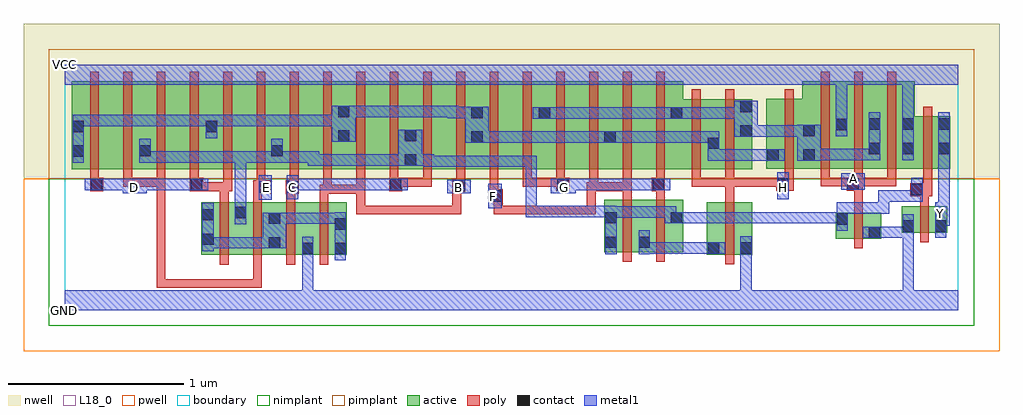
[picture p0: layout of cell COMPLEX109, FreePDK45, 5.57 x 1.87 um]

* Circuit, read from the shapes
.subckt COMPLEX109 A B C D E F G GND H VCC Y
M1 n1 D n2 VSUBS nfet w=0.3u l=0.05u
M2 n2 E n1 VSUBS nfet w=0.3u l=0.05u
M3 GND C n2 VSUBS nfet w=0.3u l=0.05u
M4 n2 B GND VSUBS nfet w=0.3u l=0.05u
M5 n3 F n1 VSUBS nfet w=0.3u l=0.05u
M6 n1 G n3 VSUBS nfet w=0.3u l=0.05u
M7 GND H n3 VSUBS nfet w=0.3u l=0.05u
M8 GND A n1 VSUBS nfet w=0.15u l=0.05u
M9 Y n1 GND VSUBS nfet w=0.15u l=0.05u
M10 n4 D n5 n6 pfet w=0.5u l=0.05u
M11 n1 E n4 n6 pfet w=0.5u l=0.05u
M12 n7 E n1 n6 pfet w=0.5u l=0.05u
M13 n5 D n7 n6 pfet w=0.5u l=0.05u
M14 n8 D n5 n6 pfet w=0.5u l=0.05u
M15 n1 E n8 n6 pfet w=0.5u l=0.05u
M16 n9 C n1 n6 pfet w=0.5u l=0.05u
M17 n5 B n9 n6 pfet w=0.5u l=0.05u
M18 n10 B n5 n6 pfet w=0.5u l=0.05u
M19 n1 C n10 n6 pfet w=0.5u l=0.05u
M20 n11 C n1 n6 pfet w=0.5u l=0.05u
M21 n5 B n11 n6 pfet w=0.5u l=0.05u
M22 n12 F n5 n6 pfet w=0.5u l=0.05u
M23 n13 G n12 n6 pfet w=0.5u l=0.05u
M24 n14 G n13 n6 pfet w=0.5u l=0.05u
M25 n5 F n14 n6 pfet w=0.5u l=0.05u
M26 n15 F n5 n6 pfet w=0.5u l=0.05u
M27 n13 G n15 n6 pfet w=0.5u l=0.05u
M28 n5 H n13 n6 pfet w=0.4u l=0.05u m=3
M29 VCC A n13 n6 pfet w=0.5u l=0.05u m=3
M30 Y n1 VCC n6 pfet w=0.3u l=0.05u
.ends

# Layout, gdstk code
import gdstk
lib = gdstk.Library(unit=1e-6, precision=1e-09)
def R(c, l, rs):  # rectangles x0, y0, x1, y1
    for r in rs: c.add(gdstk.rectangle(r[:2], r[2:], *l))
def A(c, l, x, y, w, h, nx, ny, dx, dy):  # array of equal rectangles
    R(c, l, [(x+i*dx, y+j*dy, x+i*dx+w, y+j*dy+h) for i in range(nx) for j in range(ny)])
active = (1, 0)
pwell = (2, 0)
nwell = (3, 0)
nimplant = (4, 0)
pimplant = (5, 0)
poly = (9, 0)
contact = (10, 0)
metal1 = (11, 0)
L18_0 = (18, 0)
boundary = (235, 0)

complex109 = lib.new_cell('COMPLEX109')
A(complex109, active, 0.04, 0.805, 0.225, 0.5, 3, 1, 0.38, 0)
A(complex109, active, 1.025, 0.805, 0.225, 0.5, 4, 1, 0.38, 0)
A(complex109, active, 1.175, 0.805, 0.23, 0.5, 4, 1, 0.38, 0)
R(complex109, active, [(0.78,0.315,1.04,0.615), (0.965,0.315,1.235,0.615), (1.16,0.315,1.425,0.615), (1.35,0.315,1.61,0.615), (1.35,0.315,1.425,0.497), (1.535,0.315,1.61,0.615), (3.665,0.317,3.74,0.617), (3.665,0.317,3.925,0.617), (3.85,0.317,3.925,0.617), (3.08,0.33,3.345,0.63), (3.27,0.33,3.53,0.63), (3.27,0.33,3.345,0.497), (0.78,0.332,0.855,0.615), (0.965,0.332,1.04,0.595), (1.16,0.332,1.235,0.562), (3.455,0.332,3.53,0.63), (3.08,0.35,3.155,0.63), (4.4,0.407,4.475,0.557), (4.4,0.407,4.66,0.557), (4.585,0.407,4.66,0.557), (4.777,0.442,4.852,0.592), (4.777,0.442,5.037,0.592), (4.962,0.442,5.037,0.592), (0.04,0.805,0.145,1.2), (0.265,0.805,0.495,1.305), (0.42,0.805,0.495,1.07), (0.645,0.805,0.875,1.305), (0.8,0.805,0.875,1.2), (1.175,0.805,1.25,1.07), (1.555,0.805,1.63,1.2), (1.935,0.805,2.01,1.07), (2.315,0.805,2.39,1.2), (2.545,0.805,2.775,1.305), (2.7,0.805,2.775,1.2), (2.7,0.805,2.925,1.305), (2.925,0.805,3.15,1.305), (3.075,0.805,3.15,1.07), (3.075,0.805,3.305,1.305), (3.305,0.805,3.53,1.305), (3.455,0.805,3.74,1.205), (3.665,0.805,3.925,1.205), (3.665,0.805,3.74,1.07), (3.85,0.805,3.925,1.2), (4.005,0.807,4.08,1.07), (4.005,0.807,4.285,1.207), (4.21,0.807,4.285,1.2), (4.21,0.807,4.47,1.307), (4.395,0.807,4.66,1.307), (4.395,0.807,4.47,1.307), (4.585,0.807,4.85,1.307), (4.585,0.807,4.66,1.2), (4.775,0.807,4.85,1.105), (4.775,0.807,5.055,1.107), (4.98,0.807,5.055,1.105), (3.455,0.907,3.53,1.2)])
R(complex109, pwell, [(-0.235,-0.235,5.335,0.75)])
R(complex109, nwell, [(-0.235,0.75,5.335,1.635)])
R(complex109, nimplant, [(-0.09,-0.09,5.19,0.75)])
R(complex109, pimplant, [(-0.09,0.75,5.19,1.49)])
A(complex109, poly, 0.885, 0.26, 0.05, 0.41, 4, 1, 0.19, 0)
A(complex109, poly, 1.075, 0.62, 0.05, 0.095, 3, 1, 0.19, 0)
A(complex109, poly, 0.145, 0.705, 0.05, 0.095, 4, 1, 0.19, 0)
A(complex109, poly, 4.315, 0.707, 0.05, 0.095, 3, 1, 0.19, 0)
A(complex109, poly, 0.145, 0.75, 0.05, 0.61, 18, 1, 0.19, 0)
A(complex109, poly, 4.315, 0.752, 0.05, 0.61, 3, 1, 0.19, 0)
R(complex109, poly, [(0.525,0.127,0.575,0.177), (0.525,0.127,0.575,0.177), (0.525,0.127,0.575,0.177), (0.525,0.127,0.575,0.177), (0.525,0.127,0.575,0.177), (0.525,0.127,0.575,0.177), (0.525,0.127,0.575,0.177), (0.525,0.127,0.575,0.177), (0.525,0.127,0.575,0.177), (0.525,0.127,0.707,0.177), (0.525,0.127,0.575,0.755), (0.657,0.127,0.707,0.177), (0.657,0.127,0.707,0.177), (0.657,0.127,0.707,0.177), (0.657,0.127,0.992,0.177), (0.942,0.127,0.992,0.177), (0.942,0.127,0.992,0.177), (0.942,0.127,0.992,0.177), (0.942,0.127,1.125,0.177), (1.075,0.127,1.125,0.177), (1.075,0.127,1.125,0.31), (3.77,0.262,3.82,0.672), (3.185,0.275,3.235,0.685), (3.375,0.275,3.425,0.685), (4.505,0.352,4.555,0.612), (4.882,0.387,4.932,0.647), (1.665,0.547,1.715,0.597), (1.665,0.547,1.715,0.597), (1.665,0.547,1.715,0.597), (1.665,0.547,1.715,0.597), (1.665,0.547,1.715,0.597), (1.665,0.547,1.847,0.597), (1.665,0.547,1.715,0.715), (1.797,0.547,1.847,0.597), (1.797,0.547,1.847,0.597), (1.797,0.547,1.847,0.597), (1.797,0.547,2.13,0.597), (2.08,0.547,2.13,0.597), (2.08,0.547,2.262,0.597), (2.212,0.547,2.262,0.597), (2.212,0.547,2.262,0.597), (2.212,0.547,2.262,0.597), (2.212,0.547,2.262,0.725), (2.45,0.547,2.5,0.597), (2.45,0.547,2.5,0.597), (2.45,0.547,2.5,0.597), (2.45,0.547,2.5,0.597), (2.45,0.547,2.5,0.597), (2.45,0.547,2.722,0.597), (2.45,0.547,2.5,0.665), (2.672,0.547,2.722,0.597), (2.672,0.547,2.897,0.597), (2.847,0.547,2.897,0.597), (2.847,0.547,2.897,0.597), (2.847,0.547,2.897,0.597), (2.847,0.547,3.03,0.597), (2.98,0.547,3.03,0.597), (2.98,0.547,3.03,0.597), (2.98,0.547,3.03,0.597), (2.98,0.547,3.03,0.73), (4.505,0.562,4.555,0.732), (4.882,0.597,4.932,0.7), (2.425,0.615,2.5,0.69), (0.885,0.62,0.935,0.73), (3.77,0.622,3.82,0.755), (3.185,0.635,3.235,0.73), (3.375,0.635,3.425,0.73), (2.425,0.64,2.475,0.8), (4.827,0.65,4.95,0.725), (1.075,0.665,1.177,0.74), (1.262,0.665,1.337,0.74), (1.455,0.665,1.525,0.715), (1.475,0.665,1.525,0.715), (1.475,0.665,1.525,0.715), (1.475,0.665,1.715,0.715), (1.475,0.665,1.525,0.8), (1.665,0.665,1.715,0.715), (1.665,0.665,1.715,0.8), (2.212,0.675,2.262,0.725), (2.212,0.675,2.262,0.725), (2.212,0.675,2.287,0.75), (4.9,0.675,4.95,0.802), (0.145,0.68,0.22,0.755), (0.715,0.68,0.79,0.755), (0.74,0.68,0.79,0.73), (0.74,0.68,0.79,0.73), (0.74,0.68,0.935,0.73), (0.885,0.68,0.955,0.73), (0.905,0.68,0.955,0.8), (1.852,0.68,1.927,0.755), (2.805,0.68,2.88,0.755), (2.98,0.68,3.03,0.73), (2.98,0.68,3.03,0.73), (2.98,0.68,3.045,0.73), (2.995,0.68,3.235,0.73), (2.995,0.68,3.045,0.8), (3.185,0.68,3.235,0.73), (3.185,0.68,3.235,0.73), (3.185,0.68,3.235,0.73), (3.185,0.68,3.235,0.8), (3.35,0.68,3.425,0.755), (4.062,0.682,4.16,0.757), (4.462,0.682,4.555,0.757), (1.095,0.69,1.145,0.8), (1.285,0.69,1.335,0.8), (2.235,0.7,2.285,0.8), (0.335,0.705,0.385,0.755), (0.335,0.705,0.385,0.755), (0.335,0.705,0.385,0.755), (0.335,0.705,0.575,0.755), (0.525,0.705,0.575,0.755), (1.855,0.705,1.905,0.8), (1.877,0.705,2.095,0.755), (2.045,0.705,2.095,0.8), (2.045,0.705,2.095,0.755), (2.045,0.705,2.095,0.755), (2.045,0.705,2.095,0.755), (2.615,0.705,2.665,0.8), (2.615,0.705,2.665,0.755), (2.615,0.705,2.855,0.755), (2.805,0.705,2.855,0.8), (2.805,0.705,2.855,0.755), (2.805,0.705,2.855,0.755), (3.375,0.705,3.425,0.8), (3.58,0.705,3.63,0.8), (3.58,0.705,3.63,0.755), (3.58,0.705,3.63,0.755), (3.58,0.705,3.63,0.755), (3.58,0.705,3.82,0.755), (3.77,0.705,3.82,0.8), (3.77,0.705,3.82,0.755), (3.77,0.705,3.82,0.755), (3.77,0.705,3.82,0.755), (3.77,0.705,4.112,0.755), (4.062,0.705,4.112,0.755), (4.062,0.705,4.112,0.755), (4.11,0.707,4.16,0.802), (4.315,0.707,4.365,0.757), (4.315,0.707,4.365,0.757), (4.315,0.707,4.365,0.757), (4.315,0.707,4.512,0.757), (4.505,0.707,4.745,0.757), (4.695,0.707,4.745,0.757), (4.695,0.707,4.745,0.757), (4.695,0.707,4.745,0.757), (3.58,0.75,3.63,1.26), (3.77,0.75,3.82,1.26), (4.11,0.752,4.16,1.262), (4.9,0.752,4.95,1.162)])
R(complex109, contact, [(1.355,0.32,1.42,0.385), (1.54,0.32,1.605,0.385), (3.67,0.322,3.735,0.387), (3.855,0.322,3.92,0.387), (1.165,0.352,1.23,0.417), (3.085,0.355,3.15,0.42), (3.275,0.355,3.34,0.42), (0.785,0.372,0.85,0.437), (4.59,0.412,4.655,0.477), (4.782,0.447,4.847,0.512), (4.967,0.447,5.032,0.512), (1.54,0.46,1.605,0.525), (4.405,0.487,4.47,0.552), (1.165,0.492,1.23,0.557), (3.085,0.495,3.15,0.56), (3.46,0.495,3.525,0.56), (0.785,0.512,0.85,0.577), (0.97,0.525,1.035,0.59), (2.43,0.62,2.495,0.685), (4.832,0.655,4.897,0.72), (1.107,0.67,1.172,0.735), (1.267,0.67,1.332,0.735), (2.217,0.68,2.282,0.745), (0.15,0.685,0.215,0.75), (0.72,0.685,0.785,0.75), (1.857,0.685,1.922,0.75), (2.81,0.685,2.875,0.75), (3.355,0.685,3.42,0.75), (4.067,0.687,4.132,0.752), (4.467,0.687,4.532,0.752), (1.94,0.825,2.005,0.89), (4.01,0.852,4.075,0.917), (4.215,0.852,4.28,0.917), (0.045,0.875,0.11,0.94), (0.425,0.877,0.49,0.942), (1.18,0.877,1.245,0.942), (4.59,0.89,4.655,0.955), (4.78,0.89,4.845,0.955), (4.985,0.89,5.05,0.955), (3.67,0.92,3.735,0.985), (2.32,0.955,2.385,1.02), (3.08,0.955,3.145,1.02), (1.56,0.962,1.625,1.027), (1.94,0.965,2.005,1.03), (3.855,0.99,3.92,1.055), (4.215,0.992,4.28,1.057), (0.045,1.015,0.11,1.08), (0.805,1.015,0.87,1.08), (4.4,1.027,4.465,1.092), (4.59,1.03,4.655,1.095), (4.78,1.03,4.845,1.095), (4.985,1.03,5.05,1.095), (2.705,1.092,2.77,1.157), (3.46,1.092,3.525,1.157), (2.32,1.095,2.385,1.16), (1.56,1.102,1.625,1.167), (3.855,1.13,3.92,1.195)])
R(complex109, metal1, [(0,0,5.1,0.115), (1.355,0.05,1.42,0.115), (1.355,0.05,1.42,0.115), (1.355,0.05,1.42,0.115), (1.355,0.05,1.42,0.115), (1.355,0.05,1.42,0.35), (3.855,0.05,3.92,0.115), (3.855,0.05,3.92,0.115), (3.855,0.05,3.92,0.115), (3.855,0.05,3.92,0.115), (3.855,0.05,3.92,0.352), (4.782,0.05,4.847,0.115), (4.782,0.05,4.847,0.115), (4.782,0.05,4.847,0.115), (4.782,0.05,4.847,0.115), (4.782,0.05,4.847,0.115), (4.782,0.05,4.847,0.115), (4.782,0.05,4.847,0.477), (1.355,0.285,1.42,0.42), (1.54,0.285,1.605,0.56), (3.855,0.287,3.92,0.422), (3.085,0.32,3.15,0.595), (3.275,0.32,3.34,0.455), (3.275,0.322,3.34,0.387), (3.275,0.322,3.34,0.387), (3.275,0.322,3.562,0.387), (3.497,0.322,3.562,0.387), (3.497,0.322,3.7,0.387), (3.635,0.322,3.7,0.387), (3.635,0.322,3.7,0.387), (3.635,0.322,3.77,0.387), (0.785,0.337,0.85,0.612), (0.785,0.352,0.88,0.417), (0.815,0.352,0.88,0.417), (0.815,0.352,1.017,0.417), (0.952,0.352,1.017,0.417), (0.952,0.352,1.107,0.417), (1.042,0.352,1.107,0.417), (1.042,0.352,1.195,0.417), (1.13,0.352,1.265,0.557), (4.555,0.412,4.69,0.477), (4.625,0.412,4.757,0.477), (4.692,0.412,4.757,0.477), (4.692,0.412,4.847,0.477), (4.782,0.412,4.847,0.547), (4.967,0.412,5.032,0.547), (4.405,0.452,4.47,0.587), (4.967,0.482,5.032,0.547), (4.967,0.482,5.05,0.617), (0.97,0.49,1.035,0.625), (1.2,0.492,1.452,0.557), (1.387,0.492,1.452,0.557), (1.387,0.492,1.452,0.557), (1.387,0.492,1.452,0.557), (1.387,0.492,1.605,0.557), (1.54,0.492,1.605,0.557), (1.54,0.492,1.605,0.557), (3.425,0.495,3.49,0.56), (3.425,0.495,3.56,0.56), (3.425,0.495,3.49,0.592), (3.495,0.495,3.7,0.56), (3.635,0.495,3.7,0.56), (3.635,0.495,3.7,0.56), (3.635,0.495,3.7,0.56), (3.635,0.495,3.872,0.56), (3.807,0.495,3.872,0.56), (3.807,0.495,3.872,0.56), (3.807,0.495,3.872,0.56), (3.807,0.495,4.022,0.56), (3.957,0.495,4.022,0.56), (3.957,0.495,4.177,0.56), (4.112,0.495,4.177,0.56), (4.112,0.495,4.177,0.56), (4.112,0.495,4.177,0.56), (4.112,0.495,4.315,0.56), (4.25,0.495,4.315,0.56), (4.25,0.495,4.47,0.56), (4.405,0.522,4.47,0.587), (4.405,0.522,4.47,0.615), (3.085,0.527,3.192,0.592), (3.127,0.527,3.192,0.592), (3.127,0.527,3.352,0.592), (3.287,0.527,3.352,0.592), (3.287,0.527,3.49,0.592), (2.63,0.53,2.695,0.595), (2.63,0.53,2.695,0.595), (2.63,0.53,2.695,0.595), (2.63,0.53,2.695,0.595), (2.63,0.53,2.695,0.595), (2.63,0.53,2.942,0.595), (2.63,0.53,2.695,0.882), (2.877,0.53,2.942,0.595), (2.877,0.53,3.055,0.595), (2.99,0.53,3.055,0.595), (2.99,0.53,3.15,0.595), (4.405,0.55,4.707,0.615), (4.642,0.55,4.707,0.615), (4.642,0.55,4.707,0.685), (4.985,0.552,5.05,0.92), (0.97,0.56,1.035,0.625), (0.97,0.56,1.035,0.625), (0.97,0.56,1.035,0.907), (2.417,0.582,2.495,0.72), (4.642,0.62,4.707,0.685), (4.642,0.62,4.707,0.685), (4.642,0.62,4.707,0.685), (4.642,0.62,4.895,0.685), (4.83,0.62,4.895,0.685), (4.83,0.62,4.897,0.685), (4.832,0.62,4.897,0.755), (1.107,0.63,1.182,0.77), (1.267,0.632,1.332,0.77), (4.067,0.632,4.132,0.787), (0.332,0.667,0.467,0.75), (2.182,0.667,2.317,0.745), (2.775,0.667,2.917,0.75), (0.115,0.685,0.25,0.75), (0.185,0.685,0.25,0.75), (0.185,0.685,0.25,0.75), (0.185,0.685,0.397,0.75), (0.402,0.685,0.467,0.75), (0.402,0.685,0.467,0.75), (0.402,0.685,0.605,0.75), (0.54,0.685,0.605,0.75), (0.54,0.685,0.627,0.75), (0.562,0.685,0.627,0.75), (0.562,0.685,0.75,0.75), (0.685,0.685,0.82,0.75), (1.267,0.685,1.452,0.75), (1.387,0.685,1.452,0.75), (1.387,0.685,1.59,0.75), (1.525,0.685,1.59,0.75), (1.525,0.685,1.59,0.75), (1.525,0.685,1.59,0.75), (1.525,0.685,1.747,0.75), (1.682,0.685,1.747,0.75), (1.682,0.685,1.797,0.75), (1.732,0.685,1.797,0.75), (1.732,0.685,1.887,0.75), (1.822,0.685,1.957,0.75), (2.852,0.685,2.972,0.75), (2.907,0.685,2.972,0.75), (2.907,0.685,3.055,0.75), (2.99,0.685,3.055,0.75), (2.99,0.685,3.192,0.75), (3.127,0.685,3.192,0.75), (3.127,0.685,3.192,0.75), (3.127,0.685,3.192,0.75), (3.127,0.685,3.33,0.75), (3.265,0.685,3.33,0.75), (3.265,0.685,3.385,0.75), (3.32,0.685,3.455,0.75), (4.432,0.687,4.567,0.782), (2.045,0.817,2.177,0.882), (2.045,0.817,2.11,0.89), (2.112,0.817,2.177,0.882), (2.112,0.817,2.247,0.882), (2.182,0.817,2.247,0.882), (2.182,0.817,2.385,0.882), (2.32,0.817,2.385,0.882), (2.32,0.817,2.385,0.882), (2.32,0.817,2.385,0.882), (2.32,0.817,2.557,0.882), (2.492,0.817,2.557,0.882), (2.492,0.817,2.557,0.882), (2.492,0.817,2.557,0.882), (2.492,0.817,2.695,0.882), (2.63,0.817,2.695,0.882), (1.387,0.825,1.61,0.89), (1.387,0.825,1.452,0.907), (1.545,0.825,1.61,0.89), (1.545,0.825,1.61,0.89), (1.545,0.825,1.61,0.89), (1.545,0.825,1.747,0.89), (1.682,0.825,1.747,0.89), (1.682,0.825,1.797,0.89), (1.732,0.825,1.797,0.89), (1.732,0.825,1.97,0.89), (1.905,0.825,1.97,0.89), (1.905,0.825,1.97,0.89), (1.905,0.825,2.04,1.03), (1.975,0.825,2.11,0.89), (0.045,0.84,0.11,1.115), (0.425,0.842,0.49,0.977), (0.425,0.842,0.605,0.907), (0.54,0.842,0.605,0.907), (0.54,0.842,0.712,0.907), (0.647,0.842,0.712,0.907), (0.647,0.842,0.742,0.907), (0.677,0.842,0.742,0.907), (0.677,0.842,0.88,0.907), (0.815,0.842,0.88,0.907), (0.815,0.842,0.88,0.907), (0.815,0.842,0.88,0.907), (0.815,0.842,1.035,0.907), (0.97,0.842,1.035,0.907), (0.97,0.842,1.035,0.907), (0.97,0.842,1.035,0.907), (0.97,0.842,1.245,0.907), (1.18,0.842,1.245,0.907), (1.18,0.842,1.245,0.907), (1.18,0.842,1.245,0.977), (1.18,0.842,1.452,0.907), (3.67,0.852,3.872,0.917), (3.67,0.852,3.735,1.02), (3.807,0.852,3.872,0.917), (3.807,0.852,3.872,0.917), (3.807,0.852,3.872,0.917), (3.807,0.852,4.04,0.917), (3.975,0.852,4.11,0.917), (4.18,0.852,4.315,1.057), (4.25,0.855,4.315,0.92), (4.25,0.855,4.315,0.92), (4.25,0.855,4.482,0.92), (4.417,0.855,4.482,0.92), (4.417,0.855,4.482,0.92), (4.417,0.855,4.482,0.92), (4.417,0.855,4.655,0.92), (4.59,0.855,4.655,1.13), (4.78,0.855,4.845,1.13), (4.985,0.855,5.05,1.13), (2.285,0.955,2.42,1.16), (2.355,0.955,2.42,1.02), (2.355,0.955,2.42,1.02), (2.355,0.955,2.557,1.02), (2.492,0.955,2.557,1.02), (2.492,0.955,2.557,1.02), (2.492,0.955,2.557,1.02), (2.492,0.955,2.695,1.02), (2.63,0.955,2.695,1.02), (2.63,0.955,2.695,1.02), (2.63,0.955,2.695,1.02), (2.63,0.955,2.942,1.02), (2.877,0.955,2.942,1.02), (2.877,0.955,3.055,1.02), (2.99,0.955,3.055,1.02), (2.99,0.955,3.11,1.02), (3.045,0.955,3.18,1.02), (3.115,0.955,3.192,1.02), (3.127,0.955,3.192,1.02), (3.127,0.955,3.352,1.02), (3.287,0.955,3.352,1.02), (3.287,0.955,3.352,1.02), (3.287,0.955,3.352,1.02), (3.287,0.955,3.562,1.02), (3.497,0.955,3.562,1.02), (3.497,0.955,3.735,1.02), (3.67,0.955,3.735,1.02), (3.67,0.955,3.735,1.02), (1.525,0.962,1.66,1.167), (0.805,0.98,0.87,1.115), (3.82,0.99,3.955,1.195), (3.89,0.99,4.04,1.055), (3.975,0.99,4.04,1.055), (3.975,0.99,4.092,1.055), (4.027,0.99,4.092,1.055), (4.027,0.99,4.245,1.055), (4.4,0.992,4.465,1.127), (0.045,1.05,0.11,1.115), (0.045,1.05,0.11,1.115), (0.045,1.05,0.247,1.115), (0.182,1.05,0.247,1.115), (0.182,1.05,0.467,1.115), (0.402,1.05,0.467,1.115), (0.402,1.05,0.49,1.115), (0.425,1.05,0.49,1.115), (0.425,1.05,0.605,1.115), (0.54,1.05,0.605,1.115), (0.54,1.05,0.712,1.115), (0.647,1.05,0.712,1.115), (0.647,1.05,0.742,1.115), (0.677,1.05,0.742,1.115), (0.677,1.05,0.87,1.115), (0.805,1.05,0.88,1.115), (0.815,1.05,0.88,1.115), (0.815,1.05,1.017,1.115), (0.952,1.05,1.017,1.115), (0.952,1.05,1.107,1.115), (1.042,1.05,1.107,1.115), (1.042,1.05,1.172,1.115), (1.107,1.05,1.172,1.115), (1.107,1.05,1.452,1.115), (1.387,1.05,1.452,1.115), (1.387,1.05,1.452,1.115), (1.387,1.05,1.452,1.115), (1.387,1.05,1.59,1.115), (1.525,1.05,1.59,1.115), (1.525,1.05,1.59,1.115), (4.4,1.062,4.465,1.35), (4.78,1.065,4.845,1.35), (2.67,1.092,2.805,1.157), (2.74,1.092,2.805,1.157), (2.74,1.092,2.805,1.157), (2.74,1.092,2.942,1.157), (2.877,1.092,2.942,1.157), (2.877,1.092,3.055,1.157), (2.99,1.092,3.055,1.157), (2.99,1.092,3.192,1.157), (3.127,1.092,3.192,1.157), (3.127,1.092,3.192,1.157), (3.127,1.092,3.192,1.157), (3.127,1.092,3.33,1.157), (3.265,1.092,3.33,1.157), (3.265,1.092,3.33,1.157), (3.265,1.092,3.33,1.157), (3.265,1.092,3.49,1.157), (3.425,1.092,3.56,1.157), (3.495,1.092,3.7,1.157), (3.635,1.092,3.7,1.157), (3.635,1.092,3.7,1.157), (3.635,1.092,3.7,1.157), (3.635,1.092,3.885,1.157), (3.82,1.092,3.885,1.157), (3.82,1.092,3.885,1.157), (2.182,1.095,2.35,1.16), (2.182,1.095,2.247,1.167), (1.595,1.102,1.747,1.167), (1.682,1.102,1.747,1.167), (1.682,1.102,1.8,1.167), (1.735,1.102,1.8,1.167), (1.735,1.102,1.937,1.167), (1.872,1.102,1.937,1.167), (1.872,1.102,1.937,1.167), (1.872,1.102,1.937,1.167), (1.872,1.102,2.107,1.167), (2.042,1.102,2.107,1.167), (2.042,1.102,2.212,1.167), (2.147,1.102,2.212,1.167), (2.147,1.102,2.247,1.167), (0,1.285,5.1,1.4)])
R(complex109, L18_0, [(0,0,5.1,0.115), (1.355,0.05,1.42,0.115), (1.355,0.05,1.42,0.115), (1.355,0.05,1.42,0.115), (1.355,0.05,1.42,0.115), (1.355,0.05,1.42,0.35), (3.855,0.05,3.92,0.115), (3.855,0.05,3.92,0.115), (3.855,0.05,3.92,0.115), (3.855,0.05,3.92,0.115), (3.855,0.05,3.92,0.352), (4.782,0.05,4.847,0.115), (4.782,0.05,4.847,0.115), (4.782,0.05,4.847,0.115), (4.782,0.05,4.847,0.115), (4.782,0.05,4.847,0.115), (4.782,0.05,4.847,0.115), (4.782,0.05,4.847,0.477), (1.355,0.285,1.42,0.42), (3.855,0.287,3.92,0.422), (4.555,0.412,4.69,0.477), (4.625,0.412,4.757,0.477), (4.692,0.412,4.757,0.477), (4.692,0.412,4.847,0.477), (4.782,0.412,4.847,0.547), (4.967,0.412,5.032,0.547), (4.967,0.482,5.032,0.547), (4.967,0.482,5.05,0.617), (4.967,0.517,5.032,0.582), (4.985,0.552,5.05,0.92), (2.417,0.582,2.495,0.72), (2.417,0.617,2.482,0.682), (1.107,0.63,1.182,0.77), (1.267,0.632,1.332,0.77), (4.067,0.632,4.132,0.787), (0.332,0.667,0.467,0.75), (0.367,0.667,0.432,0.732), (1.117,0.667,1.182,0.732), (1.267,0.667,1.332,0.732), (2.182,0.667,2.317,0.745), (2.217,0.667,2.282,0.732), (2.775,0.667,2.917,0.75), (2.817,0.667,2.882,0.732), (4.067,0.667,4.132,0.732), (0.115,0.685,0.25,0.75), (0.185,0.685,0.25,0.75), (0.185,0.685,0.25,0.75), (0.185,0.685,0.397,0.75), (0.402,0.685,0.467,0.75), (0.402,0.685,0.467,0.75), (0.402,0.685,0.605,0.75), (0.54,0.685,0.605,0.75), (0.54,0.685,0.627,0.75), (0.562,0.685,0.627,0.75), (0.562,0.685,0.75,0.75), (0.685,0.685,0.82,0.75), (1.267,0.685,1.452,0.75), (1.387,0.685,1.452,0.75), (1.387,0.685,1.59,0.75), (1.525,0.685,1.59,0.75), (1.525,0.685,1.59,0.75), (1.525,0.685,1.59,0.75), (1.525,0.685,1.747,0.75), (1.682,0.685,1.747,0.75), (1.682,0.685,1.797,0.75), (1.732,0.685,1.797,0.75), (1.732,0.685,1.887,0.75), (1.822,0.685,1.957,0.75), (2.852,0.685,2.972,0.75), (2.907,0.685,2.972,0.75), (2.907,0.685,3.055,0.75), (2.99,0.685,3.055,0.75), (2.99,0.685,3.192,0.75), (3.127,0.685,3.192,0.75), (3.127,0.685,3.192,0.75), (3.127,0.685,3.192,0.75), (3.127,0.685,3.33,0.75), (3.265,0.685,3.33,0.75), (3.265,0.685,3.385,0.75), (3.32,0.685,3.455,0.75), (4.432,0.687,4.567,0.782), (4.467,0.717,4.532,0.782), (4.78,0.855,4.845,1.13), (4.985,0.855,5.05,1.13), (4.4,0.992,4.465,1.127), (4.4,1.062,4.465,1.35), (4.78,1.065,4.845,1.35), (0,1.285,5.1,1.4)])
R(complex109, boundary, [(0,0,5.1,1.4)])
complex109.add(gdstk.Label('A', (4.5,0.75), layer=11, texttype=0))
complex109.add(gdstk.Label('B', (2.25,0.7), layer=11, texttype=0))
complex109.add(gdstk.Label('C', (1.3,0.7), layer=11, texttype=0))
complex109.add(gdstk.Label('D', (0.4,0.7), layer=11, texttype=0))
complex109.add(gdstk.Label('E', (1.15,0.7), layer=11, texttype=0))
complex109.add(gdstk.Label('F', (2.45,0.65), layer=11, texttype=0))
complex109.add(gdstk.Label('G', (2.85,0.7), layer=11, texttype=0))
complex109.add(gdstk.Label('H', (4.1,0.7), layer=11, texttype=0))
complex109.add(gdstk.Label('Y', (5,0.55), layer=11, texttype=0))
complex109.add(gdstk.Label('VCC', (0,1.4), layer=11, texttype=0))
complex109.add(gdstk.Label('GND', (0,0), layer=11, texttype=0))

lib.write_gds('COMPLEX109.gds')
